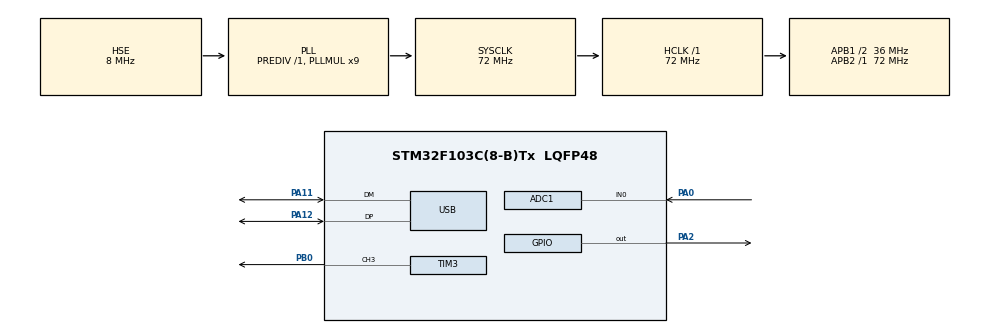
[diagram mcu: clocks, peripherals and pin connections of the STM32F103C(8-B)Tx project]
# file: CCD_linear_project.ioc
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ADC1.Channel-0\#ChannelRegularConversion=ADC_CHANNEL_0
ADC1.ExternalTrigConv=ADC_EXTERNALTRIGCONV_T3_TRGO
ADC1.NbrOfConversionFlag=1
ADC1.Rank-0\#ChannelRegularConversion=1
ADC1.SamplingTime-0\#ChannelRegularConversion=ADC_SAMPLETIME_1CYCLE_5
ADC1.master=1
Dma.ADC1.0.Direction=DMA_PERIPH_TO_MEMORY
Dma.ADC1.0.Instance=DMA1_Channel1
Dma.ADC1.0.MemDataAlignment=DMA_MDATAALIGN_HALFWORD
Dma.ADC1.0.MemInc=DMA_MINC_ENABLE
Dma.ADC1.0.Mode=DMA_NORMAL
Dma.ADC1.0.PeriphDataAlignment=DMA_PDATAALIGN_HALFWORD
Dma.ADC1.0.PeriphInc=DMA_PINC_DISABLE
Dma.ADC1.0.Priority=DMA_PRIORITY_LOW
Dma.Request0=ADC1
Mcu.Family=STM32F1
Mcu.Name=STM32F103C(8-B)Tx
Mcu.Package=LQFP48
NVIC.DMA1_Channel1_IRQn=true\:0\:0\:false\:false\:true\:false\:true\:true
NVIC.PriorityGroup=NVIC_PRIORITYGROUP_4
NVIC.USB_LP_CAN1_RX0_IRQn=true\:0\:0\:false\:false\:true\:false\:true\:true
PA0-WKUP.Signal=ADCx_IN0
PA11.Mode=Device
PA11.Signal=USB_DM
PA12.Mode=Device
PA12.Signal=USB_DP
PA2.Signal=GPIO_Output
PB0.Signal=S_TIM3_CH3
PC14-OSC32_IN.Mode=LSE-External-Oscillator
PC14-OSC32_IN.Signal=RCC_OSC32_IN
PC15-OSC32_OUT.Mode=LSE-External-Oscillator
PC15-OSC32_OUT.Signal=RCC_OSC32_OUT
PD0-OSC_IN.Mode=HSE-External-Oscillator
PD0-OSC_IN.Signal=RCC_OSC_IN
PD1-OSC_OUT.Mode=HSE-External-Oscillator
PD1-OSC_OUT.Signal=RCC_OSC_OUT
ProjectManager.HeapSize=0x200
ProjectManager.StackSize=0x400
ProjectManager.TargetToolchain=STM32CubeIDE
RCC.ADCPresc=RCC_ADCPCLK2_DIV6
RCC.AHBFreq_Value=72000000
RCC.APB1CLKDivider=RCC_HCLK_DIV2
RCC.APB1Freq_Value=36000000
RCC.APB1TimFreq_Value=72000000
RCC.APB2Freq_Value=72000000
RCC.APB2TimFreq_Value=72000000
RCC.HCLKFreq_Value=72000000
RCC.PLLMUL=RCC_PLL_MUL9
RCC.SYSCLKFreq_VALUE=72000000
RCC.SYSCLKSource=RCC_SYSCLKSOURCE_PLLCLK
RCC.USBFreq_Value=48000000
RCC.USBPrescaler=RCC_USBCLKSOURCE_PLL_DIV1_5
SH.ADCx_IN0.0=ADC1_IN0,IN0
SH.S_TIM3_CH3.0=TIM3_CH3,PWM Generation3 CH3
TIM3.Channel-PWM\ Generation3\ CH3=TIM_CHANNEL_3
TIM3.Period=19
TIM3.Prescaler=71
TIM3.Pulse-PWM\ Generation3\ CH3=19
TIM3.TIM_MasterOutputTrigger=TIM_TRGO_UPDATE
TIM3.TIM_MasterSlaveMode=TIM_MASTERSLAVEMODE_ENABLE
USB_DEVICE.CLASS_NAME_FS=CDC
USB_DEVICE.VirtualMode=Cdc
USB_DEVICE.VirtualModeFS=Cdc_FS
VP_SYS_VS_ND.Mode=No_Debug
VP_USB_DEVICE_VS_USB_DEVICE_CDC_FS.Mode=CDC_FS
board=custom

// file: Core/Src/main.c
/* USER CODE BEGIN Header */
/**
  ******************************************************************************
  * @file           : main.c
  * @brief          : Main program body
  ******************************************************************************
  * @attention
  *
  * Copyright (c) 2026 STMicroelectronics.
  * All rights reserved.
  *
  * This software is licensed under terms that can be found in the LICENSE file
  * in the root directory of this software component.
  * If no LICENSE file comes with this software, it is provided AS-IS.
  *
  ******************************************************************************
  */
/* USER CODE END Header */
#include "main.h"
#include "usb_device.h"

/* USER CODE BEGIN Includes */
extern void debug_print(char *msg);
/* USER CODE END Includes */

ADC_HandleTypeDef hadc1;
DMA_HandleTypeDef hdma_adc1;

TIM_HandleTypeDef htim3;

/* USER CODE BEGIN PV */
#define CCD_PIXELS 128
uint16_t ccd_buffer[CCD_PIXELS];
volatile uint8_t ccd_transfer_complete = 0;

/* USER CODE END PV */

void SystemClock_Config(void);
static void MX_GPIO_Init(void);
static void MX_DMA_Init(void);
static void MX_ADC1_Init(void);
static void MX_TIM3_Init(void);
/* USER CODE BEGIN PFP */

void Scan_CCD(void);
void delay_us(uint16_t us);

/* USER CODE END PFP */

int main(void)
{

  /* MCU Configuration--------------------------------------------------------*/

  /* Reset of all peripherals, Initializes the Flash interface and the Systick. */
  HAL_Init();

  /* Configure the system clock */
  SystemClock_Config();

  /* Initialize all configured peripherals */
  MX_GPIO_Init();
  MX_DMA_Init();
  MX_ADC1_Init();
  MX_TIM3_Init();
  MX_USB_DEVICE_Init();
  /* USER CODE BEGIN 2 */

  __HAL_TIM_SET_COMPARE(&htim3, TIM_CHANNEL_3, 9);

  char usb_tx_buffer[50];

  /* USER CODE END 2 */

  /* Infinite loop */
  /* USER CODE BEGIN WHILE */
  while (1)
  {
	  Scan_CCD();

	        // Wait until DMA fills the ccd_buffer array
	        while (!ccd_transfer_complete);

	        // --- SEND DATA OVER USB SERIAL ---
	        for (int i = 0; i < CCD_PIXELS; i++)
	        {
	            // Format each pixel value separated by a space
	            snprintf(usb_tx_buffer, sizeof(usb_tx_buffer), "%d ", ccd_buffer[i]);
	            debug_print(usb_tx_buffer);

	            // Small delay to allow the USB endpoint buffer to clear out securely
	            HAL_Delay(1);
	        }

	        // Send a newline character sequence to indicate the end of this 128-pixel frame
	        debug_print("\r\n");

	        // Integration exposure padding control delay (Adjust for your frame rate / lighting)
	        HAL_Delay(50);
    /* USER CODE END WHILE */

  }
}

void SystemClock_Config(void)
{
  RCC_OscInitTypeDef RCC_OscInitStruct = {0};
  RCC_ClkInitTypeDef RCC_ClkInitStruct = {0};
  RCC_PeriphCLKInitTypeDef PeriphClkInit = {0};

  /** Initializes the RCC Oscillators according to the specified parameters
  * in the RCC_OscInitTypeDef structure.
  */
  RCC_OscInitStruct.OscillatorType = RCC_OSCILLATORTYPE_HSE;
  RCC_OscInitStruct.HSEState = RCC_HSE_ON;
  RCC_OscInitStruct.HSEPredivValue = RCC_HSE_PREDIV_DIV1;
  RCC_OscInitStruct.HSIState = RCC_HSI_ON;
  RCC_OscInitStruct.PLL.PLLState = RCC_PLL_ON;
  RCC_OscInitStruct.PLL.PLLSource = RCC_PLLSOURCE_HSE;
  RCC_OscInitStruct.PLL.PLLMUL = RCC_PLL_MUL9;
  if (HAL_RCC_OscConfig(&RCC_OscInitStruct) != HAL_OK)
  {
    Error_Handler();
  }

  /** Initializes the CPU, AHB and APB buses clocks
  */
  RCC_ClkInitStruct.ClockType = RCC_CLOCKTYPE_HCLK|RCC_CLOCKTYPE_SYSCLK
                              |RCC_CLOCKTYPE_PCLK1|RCC_CLOCKTYPE_PCLK2;
  RCC_ClkInitStruct.SYSCLKSource = RCC_SYSCLKSOURCE_PLLCLK;
  RCC_ClkInitStruct.AHBCLKDivider = RCC_SYSCLK_DIV1;
  RCC_ClkInitStruct.APB1CLKDivider = RCC_HCLK_DIV2;
  RCC_ClkInitStruct.APB2CLKDivider = RCC_HCLK_DIV1;

  if (HAL_RCC_ClockConfig(&RCC_ClkInitStruct, FLASH_LATENCY_2) != HAL_OK)
  {
    Error_Handler();
  }
  PeriphClkInit.PeriphClockSelection = RCC_PERIPHCLK_ADC|RCC_PERIPHCLK_USB;
  PeriphClkInit.AdcClockSelection = RCC_ADCPCLK2_DIV6;
  PeriphClkInit.UsbClockSelection = RCC_USBCLKSOURCE_PLL_DIV1_5;
  if (HAL_RCCEx_PeriphCLKConfig(&PeriphClkInit) != HAL_OK)
  {
    Error_Handler();
  }
}

static void MX_ADC1_Init(void)
{

  ADC_ChannelConfTypeDef sConfig = {0};

  /** Common config
  */
  hadc1.Instance = ADC1;
  hadc1.Init.ScanConvMode = ADC_SCAN_DISABLE;
  hadc1.Init.ContinuousConvMode = DISABLE;
  hadc1.Init.DiscontinuousConvMode = DISABLE;
  hadc1.Init.ExternalTrigConv = ADC_EXTERNALTRIGCONV_T3_TRGO;
  hadc1.Init.DataAlign = ADC_DATAALIGN_RIGHT;
  hadc1.Init.NbrOfConversion = 1;
  if (HAL_ADC_Init(&hadc1) != HAL_OK)
  {
    Error_Handler();
  }

  /** Configure Regular Channel
  */
  sConfig.Channel = ADC_CHANNEL_0;
  sConfig.Rank = ADC_REGULAR_RANK_1;
  sConfig.SamplingTime = ADC_SAMPLETIME_1CYCLE_5;
  if (HAL_ADC_ConfigChannel(&hadc1, &sConfig) != HAL_OK)
  {
    Error_Handler();
  }

}

static void MX_TIM3_Init(void)
{

  TIM_MasterConfigTypeDef sMasterConfig = {0};
  TIM_OC_InitTypeDef sConfigOC = {0};

  htim3.Instance = TIM3;
  htim3.Init.Prescaler = 71;
  htim3.Init.CounterMode = TIM_COUNTERMODE_UP;
  htim3.Init.Period = 19;
  htim3.Init.ClockDivision = TIM_CLOCKDIVISION_DIV1;
  htim3.Init.AutoReloadPreload = TIM_AUTORELOAD_PRELOAD_DISABLE;
  if (HAL_TIM_PWM_Init(&htim3) != HAL_OK)
  {
    Error_Handler();
  }
  sMasterConfig.MasterOutputTrigger = TIM_TRGO_UPDATE;
  sMasterConfig.MasterSlaveMode = TIM_MASTERSLAVEMODE_ENABLE;
  if (HAL_TIMEx_MasterConfigSynchronization(&htim3, &sMasterConfig) != HAL_OK)
  {
    Error_Handler();
  }
  sConfigOC.OCMode = TIM_OCMODE_PWM1;
  sConfigOC.Pulse = 9;
  sConfigOC.OCPolarity = TIM_OCPOLARITY_HIGH;
  sConfigOC.OCFastMode = TIM_OCFAST_DISABLE;
  if (HAL_TIM_PWM_ConfigChannel(&htim3, &sConfigOC, TIM_CHANNEL_3) != HAL_OK)
  {
    Error_Handler();
  }
  HAL_TIM_MspPostInit(&htim3);

}

static void MX_DMA_Init(void)
{

  /* DMA controller clock enable */
  __HAL_RCC_DMA1_CLK_ENABLE();

  /* DMA interrupt init */
  /* DMA1_Channel1_IRQn interrupt configuration */
  HAL_NVIC_SetPriority(DMA1_Channel1_IRQn, 0, 0);
  HAL_NVIC_EnableIRQ(DMA1_Channel1_IRQn);

}

static void MX_GPIO_Init(void)
{
  GPIO_InitTypeDef GPIO_InitStruct = {0};

  /* GPIO Ports Clock Enable */
  __HAL_RCC_GPIOC_CLK_ENABLE();
  __HAL_RCC_GPIOD_CLK_ENABLE();
  __HAL_RCC_GPIOA_CLK_ENABLE();
  __HAL_RCC_GPIOB_CLK_ENABLE();

  /*Configure GPIO pin Output Level */
  HAL_GPIO_WritePin(GPIOA, GPIO_PIN_2, GPIO_PIN_RESET);

  /*Configure GPIO pin : PA2 */
  GPIO_InitStruct.Pin = GPIO_PIN_2;
  GPIO_InitStruct.Mode = GPIO_MODE_OUTPUT_PP;
  GPIO_InitStruct.Pull = GPIO_NOPULL;
  GPIO_InitStruct.Speed = GPIO_SPEED_FREQ_LOW;
  HAL_GPIO_Init(GPIOA, &GPIO_InitStruct);

}

/* USER CODE BEGIN 4 */

// This triggers automatically the exact moment DMA collects the 128th pixel
void HAL_ADC_ConvCpltCallback(ADC_HandleTypeDef* hadc)
{
    if (hadc->Instance == ADC1)
    {
        // Stop the clock generation and ADC stream immediately after the 128th pixel
        HAL_TIM_PWM_Stop(&htim3, TIM_CHANNEL_3);
        HAL_ADC_Stop_DMA(&hadc1);
        ccd_transfer_complete = 1;
    }
}

// Microsecond delay helper function for accurate SI pulse creation
void delay_us(uint16_t us)
{
    // Simple microsecond approximation loop at 72MHz if a dedicated timer isn't active
    volatile uint32_t count = us * 8;
    while (count--);
}

void Scan_CCD(void)
{
    ccd_transfer_complete = 0;

    // 1. Manually generate the SI pulse (PA2) synchronized with a quick CLK cycle
    HAL_GPIO_WritePin(GPIOA, GPIO_PIN_2, GPIO_PIN_SET);   // SI = 1
    HAL_TIM_PWM_Start(&htim3, TIM_CHANNEL_3);             // CLK starts pulsing
    delay_us(10);

    HAL_GPIO_WritePin(GPIOA, GPIO_PIN_2, GPIO_PIN_RESET); // SI = 0
    HAL_TIM_PWM_Stop(&htim3, TIM_CHANNEL_3);              // Halt CLK
    delay_us(10);

    // 2. Clear out the timer counter register to align the next phase perfectly
    __HAL_TIM_SET_COUNTER(&htim3, 0);

    // 3. Set up the DMA destination transfer pipeline
    HAL_ADC_Start_DMA(&hadc1, (uint32_t*)ccd_buffer, CCD_PIXELS);

    // 4. Fire up TIM3 again. TRGO update events will now automatically drive ADC conversion
    HAL_TIM_PWM_Start(&htim3, TIM_CHANNEL_3);
}

/* USER CODE END 4 */

void Error_Handler(void)
{
  __disable_irq();
  while (1)
  {
  }
}
